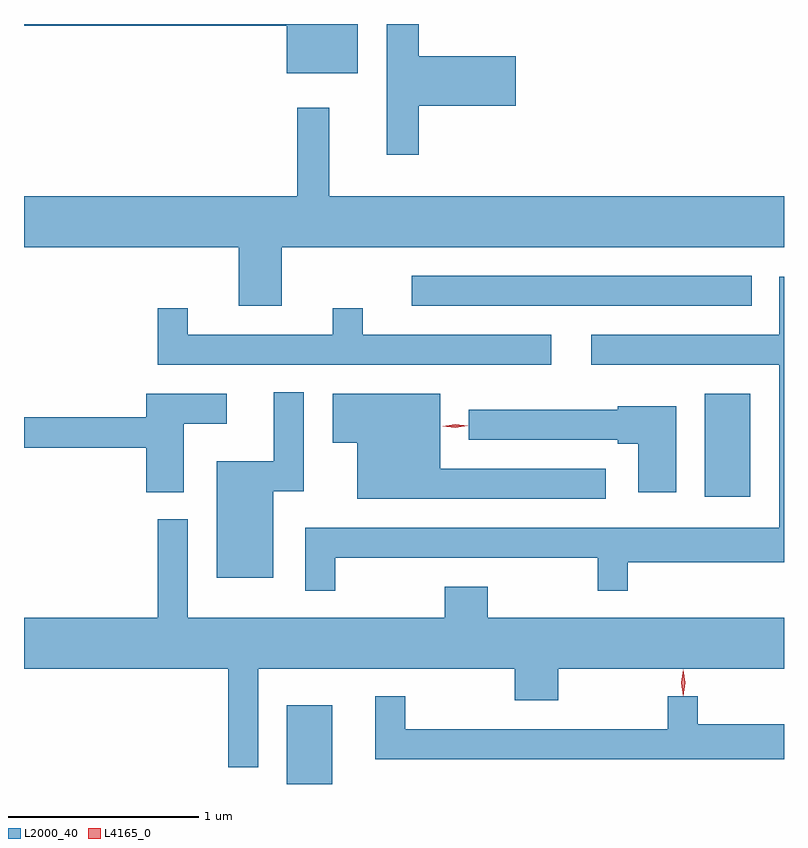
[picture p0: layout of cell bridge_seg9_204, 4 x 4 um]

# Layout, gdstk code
import gdstk
lib = gdstk.Library(unit=1e-6, precision=1e-09)
def R(c, l, rs):  # rectangles x0, y0, x1, y1
    for r in rs: c.add(gdstk.rectangle(r[:2], r[2:], *l))
def P(c, l, *ps):  # polygons
    for p in ps: c.add(gdstk.Polygon(p, *l))
L2000_40 = (2000, 40)
L4165_0 = (4165, 0)

bridge_seg9_204 = lib.new_cell('bridge_seg9_204')
R(bridge_seg9_204, L2000_40, [(1283.486,1949.03,1283.724,1949.444), (1285.686,1950.541,1285.924,1951.084), (1284.143,1951.546,1285.933,1951.704)])
P(bridge_seg9_204, L2000_40, [(1284.179,1952.601),(1284.689,1952.601),(1284.689,1952.859),(1284.179,1952.859),(1284.179,1953.03),(1284.011,1953.03),(1284.011,1952.343),(1284.179,1952.343)],
  [(1283.859,1953.03),(1282.102,1953.03),(1282.102,1953.021),(1283.486,1953.021),(1283.486,1952.771),(1283.859,1952.771)],
  [(1283.459,1951.856),(1286.102,1951.856),(1286.102,1952.124),(1283.709,1952.124),(1283.709,1952.588),(1283.541,1952.588),(1283.541,1952.124),(1282.102,1952.124),(1282.102,1951.856),(1283.231,1951.856),(1283.231,1951.546),(1283.459,1951.546)],
  [(1283.739,1950.221),(1285.121,1950.221),(1285.121,1950.048),(1285.279,1950.048),(1285.279,1950.196),(1286.102,1950.196),(1286.102,1951.699),(1286.076,1951.699),(1286.076,1951.394),(1285.088,1951.394),(1285.088,1951.236),(1286.076,1951.236),(1286.076,1950.379),(1283.581,1950.379),(1283.581,1950.048),(1283.739,1950.048)],
  [(1284.878,1951.394),(1283.884,1951.394),(1283.884,1951.533),(1283.726,1951.533),(1283.726,1951.394),(1282.964,1951.394),(1282.964,1951.533),(1282.806,1951.533),(1282.806,1951.236),(1284.878,1951.236)],
  [(1283.414,1950.571),(1283.574,1950.571),(1283.574,1951.093),(1283.416,1951.093),(1283.416,1950.729),(1283.116,1950.729),(1283.116,1950.116),(1283.414,1950.116)],
  [(1285.163,1950.689),(1284.294,1950.689),(1284.294,1951.084),(1283.726,1951.084),(1283.726,1950.826),(1283.856,1950.826),(1283.856,1950.531),(1285.163,1950.531)],
  [(1282.944,1950.926),(1283.168,1950.926),(1283.168,1951.084),(1282.746,1951.084),(1282.746,1950.959),(1282.102,1950.959),(1282.102,1950.801),(1282.746,1950.801),(1282.746,1950.566),(1282.944,1950.566)],
  [(1285.534,1951.019),(1285.226,1951.019),(1285.226,1950.999),(1284.443,1950.999),(1284.443,1950.841),(1285.226,1950.841),(1285.226,1950.821),(1285.336,1950.821),(1285.336,1950.566),(1285.534,1950.566)],
  [(1283.334,1949.636),(1284.686,1949.636),(1284.686,1949.471),(1284.914,1949.471),(1284.914,1949.636),(1286.102,1949.636),(1286.102,1949.904),(1284.544,1949.904),(1284.544,1950.069),(1284.316,1950.069),(1284.316,1949.904),(1282.964,1949.904),(1282.964,1950.423),(1282.806,1950.423),(1282.806,1949.904),(1282.102,1949.904),(1282.102,1949.636),(1283.176,1949.636),(1283.176,1949.118),(1283.334,1949.118)],
  [(1286.102,1949.344),(1285.649,1949.344),(1285.649,1949.493),(1285.491,1949.493),(1285.491,1949.319),(1284.109,1949.319),(1284.109,1949.493),(1283.951,1949.493),(1283.951,1949.161),(1286.102,1949.161)])
P(bridge_seg9_204, L4165_0, [(1284.371,1950.904),(1284.306,1950.912),(1284.305,1950.913),(1284.306,1950.914),(1284.371,1950.924),(1284.437,1950.916),(1284.437,1950.915),(1284.437,1950.915)],
  [(1285.571,1949.493),(1285.562,1949.562),(1285.572,1949.631),(1285.572,1949.631),(1285.573,1949.631),(1285.582,1949.562),(1285.572,1949.493),(1285.572,1949.493)])

lib.write_gds('bridge_seg9_204.gds')
